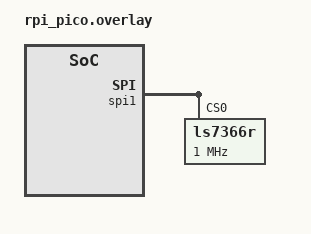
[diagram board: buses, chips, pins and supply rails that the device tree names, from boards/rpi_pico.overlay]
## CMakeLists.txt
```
cmake_minimum_required(VERSION 3.13.1)
# set (BOARD_ROOT "${CMAKE_CURRENT_SOURCE_DIR}")
# set (DTC_OVERLAY_FILE "${CMAKE_CURRENT_SOURCE_DIR}/ELS.ovelay")
set(CMAKE_CXX_STANDARD 20)
set(CMAKE_C_STANDARD 11)
set(CMAKE_CXX_STANDARD_REQUIRED ON)
set(CMAKE_C_STANDARD_REQUIRED ON)
#set(CONFIG_LIB_CPLUSPLUS ON)
#set(CONFIG_NEWLIB_LIBC ON)
#set(CMAKE_CXX_EXTENSIONS OFF)

set(NO_BUILD_TYPE_WARNING TRUE)
if(ELS_TESTS)
set(BOARD native_sim)
add_compile_definitions(ELS_TESTS)
endif()
set(QPCPP ${CMAKE_CURRENT_SOURCE_DIR}/qpcpp)
set(CMAKE_EXPORT_COMPILE_COMMANDS ON)

# Zephyr stuff
set(ZEPHYR_EXTRA_MODULES ${QPCPP})

find_package(Zephyr REQUIRED HINTS $ENV{ZEPHYR_BASE})

#include($ENV{ZEPHYR_BASE}/cmake/app/boilerplate.cmake NO_POLICY_SCOPE)
project(app LANGUAGES C CXX ASM)

FILE(GLOB_RECURSE app_sources 
#main app
./src/*.c*
#tests
# ./test/*.c*
)

if(ELS_TESTS)
    set(NO_BUILD_TYPE_WARNING TRUE)
    set(CMAKE_C_FLAGS -m32)
    set(CMAKE_CXX_FLAGS -m32) 

    add_compile_definitions(CONFIG_SPINDLE_ENCODER_TYPE_TEST)

    include(FetchContent)
        FetchContent_Declare(
        googletest
        URL https://github.com/google/googletest/archive/03597a01ee50ed33e9dfd640b249b4be3799d395.zip
    )
    # For Windows: Prevent overriding the parent project's compiler/linker settings
    set(gtest_force_shared_crt ON CACHE BOOL "" FORCE)
    FetchContent_MakeAvailable(googletest)

    FetchContent_Declare(
        trompeloeil
        GIT_REPOSITORY https://github.com/rollbear/trompeloeil.git
        GIT_TAG        v47 # or a later release
    )
    FetchContent_MakeAvailable(trompeloeil)

    # include($ENV{ZEPHYR_BASE}/cmake/app/boilerplate.cmake NO_POLICY_SCOPE)
    # project(app LANGUAGES C CXX ASM)
    FILE(GLOB_RECURSE test_sources ./test/*.c*)
    include_directories(./test/)
    
endif()

zephyr_include_directories(
 ${QPCPP}/include
 ${QPCPP}/zephyr
 ./src
)



# option to turn QSPY software tracing ON or OFF
# NOTE: Typically specified on command-line, e.g.:
# west build -b <board> -- -DQSPY=ON
#
option(QSPY "QSPY software tracing" OFF)

include_directories(src)
target_sources(app PRIVATE ${app_sources})

if(ELS_TESTS)
    enable_testing()

    target_link_libraries(
    app
    PUBLIC
    GTest::gtest_main
    )

    add_executable(tests ${app_sources} ${test_sources}) 
    target_link_libraries(
    tests
    PUBLIC
    trompeloeil::trompeloeil
    GTest::gtest_main
    )

    include(GoogleTest)
    gtest_discover_tests(tests)

endif()
```

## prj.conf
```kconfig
CONFIG_CPP=y
CONFIG_REQUIRES_FULL_LIBCPP=y
CONFIG_SPI=y
CONFIG_SMF=y
CONFIG_CPP_EXCEPTIONS=y
CONFIG_CPP_RTTI=y
CONFIG_STD_CPP14=y
CONFIG_STD_CPP17=y
CONFIG_STD_CPP20=y

CONFIG_GPIO=y

# need the QPCPP Zephyr module
CONFIG_QPCPP=y

CONFIG_NUM_COOP_PRIORITIES=29
CONFIG_NUM_PREEMPT_PRIORITIES=40
CONFIG_THREAD_NAME=y
CONFIG_REBOOT=y

# for QSPY...
CONFIG_SERIAL=y
```

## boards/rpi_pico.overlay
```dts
&spi1 {
    //compatible = "nordic,nrf-spim";
    ls7366r: ls7366r@0 {
        compatible = "ls7366r";
        reg = <0>;
        spi-max-frequency = <1000000>;
        cs-gpios = <&gpio0 4 GPIO_ACTIVE_LOW>;
    };
};
```

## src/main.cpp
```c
#ifndef ELS_TESTS

#include <zephyr/kernel.h>

#include "Encoder/IEncoder.hpp"

#define ENCODER_UPDATE_TASK_PRIORITY -2 //high priority
#define ENCODER_UPDATE_TASK_STACK_SIZE 128

#ifdef CONFIG_SPINDLE_ENCODER_TYPE_TEST
    // Setup for TEST encoder
    #define myEncoder nullptr

#elif CONFIG_SPINDLE_ENCODER_TYPE_LS7366 //Deprecated, this chip is obseleted by the manufacturer
    #include "Device/Encoder/Driver/LS7366R.hpp"
    LS7366R* myEncoder;
    // Setup for LS7366 encoder
#elif CONFIG_SPINDLE_ENCODER_TYPE_SDEC

#elif CONFIG_SPINDLE_ENCODER_TYPE_VIRTUAL

#elif CONFIG_SPINDLE_ENCODER_TYPE_STM32_QEI

#else
    #error "No encoder type selected, see Kconfig"
    // Setup for SDEC encoder
#endif

// #if CONFIG_BOARD == stm32f411ce_blackpill
//     #if CONFIG_BOARD != rpi_pico
//         #error "Board mismatch, see README.md for supported boards"
//     #endif
// #endif

K_THREAD_STACK_DEFINE(encoderUpdateTaskStack, ENCODER_UPDATE_TASK_STACK_SIZE);
struct k_thread encoderUpdateTaskData;
k_tid_t encoderUpdateThreadId;

int main() {
    #if USE_LS7366R_ENCODER
        myEncoder = new LS7366R();
        myEncoder->Init();
    #endif

    encoderUpdateThreadId = k_thread_create(
        &encoderUpdateTaskData, 
        encoderUpdateTaskStack,
        K_THREAD_STACK_SIZEOF(encoderUpdateTaskStack),
        UpdateEncoderTask,
        myEncoder, NULL, NULL,
        ENCODER_UPDATE_TASK_PRIORITY,
        0, K_NO_WAIT);
}


void UpdateEncoderTask(void *arg1, void *arg2, void *arg3) {
    Encoder* encoder = static_cast<Encoder*>(arg1);
    for (;;) {
        encoder->Update();
        //vTaskDelay(1*portTICK_PERIOD_MS);
    }
}

#endif // TESTING
```

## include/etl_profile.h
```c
#pragma once
//based on #include <etl/profiles/armv7.h>
#define ETL_TARGET_DEVICE_ARM
#define ETL_TARGET_OS_NONE
#define ETL_COMPILER_GCC
#define ETL_CPP11_SUPPORTED 1
#define ETL_CPP14_SUPPORTED 1
#define ETL_CPP17_SUPPORTED 1
#define ETL_NO_NULLPTR_SUPPORT 0
#define ETL_NO_LARGE_CHAR_SUPPORT 0
#define ETL_NO_STL 0
#define ETL_CPP11_TYPE_TRAITS_IS_TRIVIAL_SUPPORTED 1

#define ETL_THROW_EXCEPTIONS
#define ETL_VERBOSE_ERRORS

// #if defined(_MSC_VER)
//   #include "etl/profiles/msvc_x86.h"
// #elif defined(__GNUC__)
//   #include "etl/profiles/gcc_generic.h"
// #endif
```

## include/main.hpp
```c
#pragma once

void UpdateEncoderTask(void *arg1, void *arg2, void *arg3);
```

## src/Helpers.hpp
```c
#pragma once

#define ELSF_UNUSED(x) (void)(x)
```
